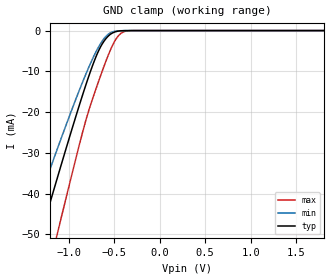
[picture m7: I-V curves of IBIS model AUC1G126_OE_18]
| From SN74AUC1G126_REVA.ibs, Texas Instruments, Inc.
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[Model]   AUC1G126_OE_18
Model_type  Input
Vinl=0.5775
Vinh=1.2675
| variable   typ   min   max
C_comp   2.25pF   1.88pF   2.85pF
[Temperature Range]   40   100   -40
| Ambient temperature   25   85   -40
[Voltage range]   1.8   1.65   1.95
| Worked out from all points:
|   GND clamp passes 1 mA (typ) near -0.55 V on its own axis
[GND Clamp]
| AUC1G126_OE_18
|   Voltage   I(typ)   I(min)   I(max)
-3.6V     -230.2mA   -193.8mA   -275.4mA
-1.445V   -60.91mA   -49.39mA   -79.48mA
-1.29V    -48.93mA   -39.5mA    -65.22mA
-1.145V   -37.84mA   -30.41mA   -51.89mA
-1.1V     -34.44mA   -27.64mA   -47.76mA
-830mV    -14.72mA   -11.79mA   -23.67mA
-690mV    -5.96mA    -4.844mA   -13.74mA
-565mV    -1.381mA   -914.2uA   -6.102mA
-490mV    -326uA     -167.9uA   -2.495mA
-425mV    -63.97uA   -31.34uA   -688.8uA
-275mV    -662.6nA   -487.6nA   -4.372uA
1.8V      203.2pA    298.4pA    235.5pA
